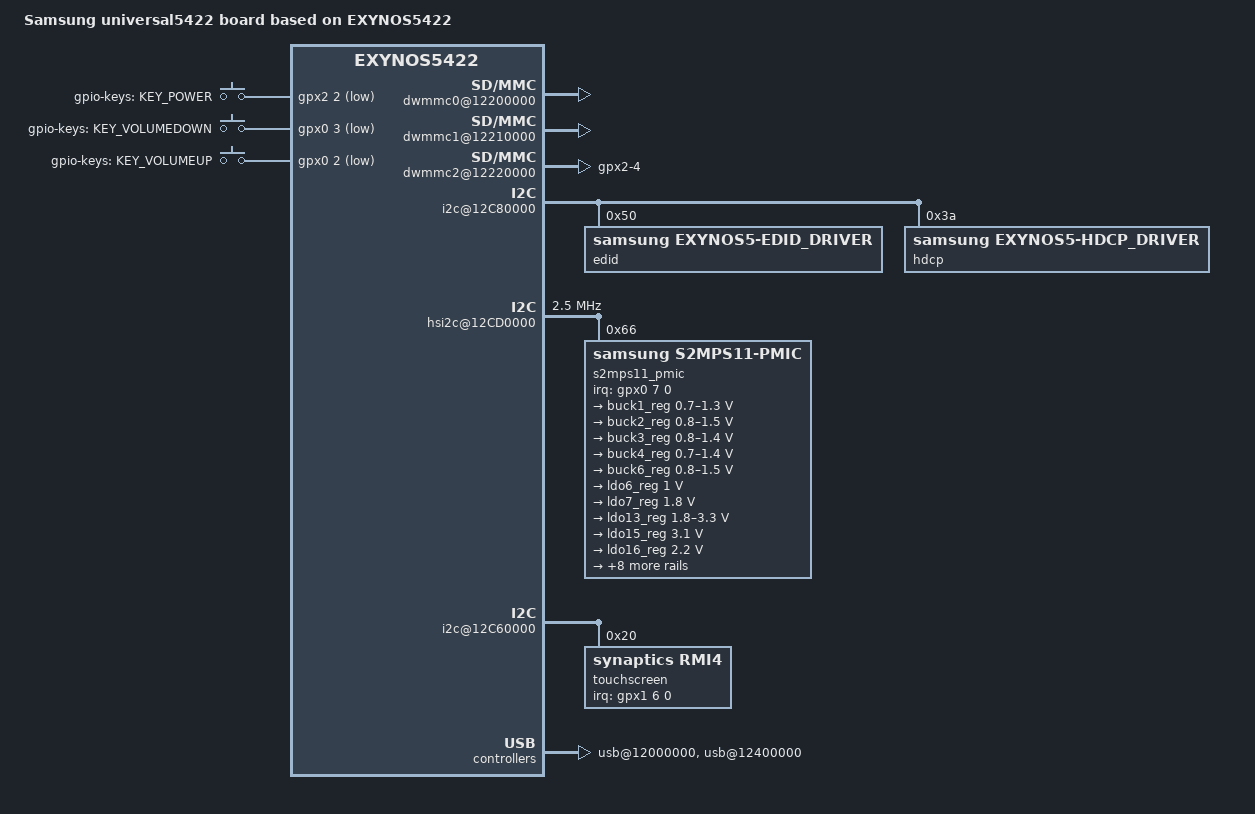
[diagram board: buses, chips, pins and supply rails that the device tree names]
/*
 * SAMSUNG universal5422 board device tree source
 *
 * Copyright (c) 2013 Samsung Electronics Co., Ltd.
 *             http://www.samsung.com
 *
 * This program is free software; you can redistribute it and/or modify
 * it under the terms of the GNU General Public License version 2 as
 * published by the Free Software Foundation.
*/

/dts-v1/;
#include "exynos5422.dtsi"

/ {
	model = "Samsung universal5422 board based on EXYNOS5422";
	compatible = "samsung,universal5422", "samsung,exynos5422";

	chosen {
		bootargs = "console=ttySAC2,115200 vmalloc=512M ess_setup=0x26000000";
	};

	fixed-rate-clocks {
		oscclk {
			compatible = "samsung,exynos5422-oscclk";
			clock-frequency = <24000000>;
		};
	};

	rtc {
		status = "okay";
	};

	dwmmc0@12200000 {
		status = "okay";
		num-slots = <1>;
		broken-cd;
		bypass-smu;
		fixed_volt;
		only_once_tune;
		supports-highspeed;
		supports-hs200-mode;
		sw_data_timeout;
		fifo-depth = <0x40>;
		card-detect-delay = <200>;
		qos_int_level = <200000>;
		samsung,dw-mshc-ciu-div = <3>;
		samsung,dw-mshc-sdr-timing = <0 4 3>;
		samsung,dw-mshc-ddr-timing = <0 2 3>;
		samsung,dw-mshc-hs200-timing = <0 2 3>;
		samsung,dw-mshc-ddr200-timing = <0 2 1>;
		clk_pin = "gpc0-0";
		clk_addr = "13410000.pinctrl";
		clk_val = <0x3>;
		clk_str_num = <4>;
		num-ref-clks = <8>;
		ciu_clkin = <20812500 41625000 41625000 83250000 166500000 83250000 166500000 333000000>;
		pinctrl-names = "default";
		pinctrl-0 = <&sd0_clk &sd0_cmd &sd0_rdqs &sd0_bus1 &sd0_bus4 &sd0_bus8>;

		slot@0 {
			reg = <0>;
			bus-width = <8>;
		};
	};

	dwmmc1@12210000 {
		status = "okay";
		num-slots = <1>;
		fixed_volt;
		only_once_tune;
		supports-highspeed;
		sw_data_timeout;
		fifo-depth = <0x40>;
		card-detect-delay = <200>;
		qos_int_level = <200000>;
		samsung,dw-mshc-ciu-div = <3>;
		samsung,dw-mshc-sdr-timing = <2 3 3>;
		samsung,dw-mshc-ddr-timing = <1 2 3>;
		clk_pin = "gpc1-0";
		clk_addr = "13410000.pinctrl";
		clk_val = <0x3>;
		clk_str_num = <4>;
		num-ref-clks = <8>;
		ciu_clkin = <20812500 41625000 41625000 83250000 166500000 83250000 166500000 333000000>;
		pinctrl-names = "default";
		pinctrl-0 = <&sd1_clk &sd1_cmd &sd1_bus1 &sd1_bus4>;

		slot@0 {
			reg = <0>;
			bus-width = <4>;
		};
	};


	dwmmc2@12220000 {
		status = "okay";
		num-slots = <1>;
		supports-highspeed;
		sw_data_timeout;
		fifo-depth = <0x40>;
		card-detect-delay = <200>;
		qos_int_level = <200000>;
		samsung,dw-mshc-ciu-div = <3>;
		samsung,dw-mshc-sdr-timing = <2 3 3>;
		samsung,dw-mshc-ddr-timing = <1 2 3>;
		clk_pin = "gpc2-0";
		clk_addr = "13410000.pinctrl";
		clk_val = <0x3>;
		clk_str_num = <4>;
		num-ref-clks = <8>;
		ciu_clkin = <20812500 41625000 41625000 83250000 166500000 83250000 166500000 333000000>;
		pinctrl-names = "default";
		pinctrl-0 = <&sd2_clk &sd2_cmd &sd2_cd &sd2_bus1 &sd2_bus4 &dwmmc2_cd_irq>;

		gpio-controller;
		#gpio-cells = <2>;
		cd-gpio = <&gpx2 4 0xf>;

		slot@0 {
			reg = <0>;
			bus-width = <4>;
			disable-wp;
		};
	};

	pinctrl@13400000 {
		pmic_irq: pmic-irq {
			samsung,pins = "gpx0-7";
			samsung,pin-pud = <3>;
			samsung,pin-drv = <3>;
		};

		dwmmc2_cd_irq: dwmmc2-cd-irq {
			samsung,pins = "gpx2-4";
			samsung,pin-function = <0>;
			samsung,pin-pud = <3>;
			samsung,pin-drv = <3>;
		};
	};

	pinctrl@13410000 {
		pm_wrsti: pm-wrsti {
			samsung,pins = "gpy3-0";
			samsung,pin-con-pdn = <3>;
		};
	};

	i2c@12C80000 {
		status = "okay";
		/* hdmi edid dirver */
		edid@50 {
			compatible = "samsung,exynos5-edid_driver";
			reg = <0x50>;
		};

		/* hdmi hdcp dirver */
		hdcp@3A {
			compatible = "samsung,exynos5-hdcp_driver";
			reg = <0x3A>;
		};
	};

	hsi2c@12CD0000 {
		samsung,hs-mode;
		clock-frequency = <2500000>;
		status = "okay";

		s2mps11_pmic@66 {
			compatible = "samsung,s2mps11-pmic";
			reg = <0x66>;
			interrupts = <7 0 0>;
			interrupt-parent = <&gpx0>;
			pinctrl-names = "default";
			pinctrl-0 = <&pmic_irq &pm_wrsti>;
			wtsr_smpl = <1>;

			regulators {
				buck1_reg: BUCK1 {
					regulator-name = "vdd_mif";
					regulator-min-microvolt = <700000>;
					regulator-max-microvolt = <1300000>;
					regulator-always-on;
					regulator-boot-on;
					regulator-ramp-delay = <12000>;
					regulator-initial-mode = <1>;
				};

				buck2_reg: BUCK2 {
					regulator-name = "vdd_eagle";
					regulator-min-microvolt = <800000>;
					regulator-max-microvolt = <1500000>;
					regulator-always-on;
					regulator-boot-on;
					regulator-ramp-delay = <12000>;
					regulator-initial-mode = <1>;
				};

				buck3_reg: BUCK3 {
					regulator-name = "vdd_int";
					regulator-min-microvolt = <800000>;
					regulator-max-microvolt = <1400000>;
					regulator-always-on;
					regulator-boot-on;
					regulator-ramp-delay = <12000>;
					regulator-initial-mode = <1>;
				};

				buck4_reg: BUCK4 {
					regulator-name = "vdd_g3d";
					regulator-min-microvolt = <700000>;
					regulator-max-microvolt = <1400000>;
					regulator-always-on;
					regulator-boot-on;
					regulator-ramp-delay = <12000>;
					regulator-initial-mode = <1>;
				};

				buck6_reg: BUCK6 {
					regulator-name = "vdd_kfc";
					regulator-min-microvolt = <800000>;
					regulator-max-microvolt = <1500000>;
					regulator-always-on;
					regulator-boot-on;
					regulator-ramp-delay = <12000>;
					regulator-initial-mode = <1>;
				};

				ldo6_reg: LDO6 {
					regulator-name = "vdd_ldo6";
					regulator-min-microvolt = <1000000>;
					regulator-max-microvolt = <1000000>;
					regulator-always-on;
					regulator-initial-mode = <1>;
				};

				ldo7_reg: LDO7 {
					regulator-name = "vdd_ldo7";
					regulator-min-microvolt = <1800000>;
					regulator-max-microvolt = <1800000>;
					regulator-always-on;
					regulator-initial-mode = <1>;
				};

				ldo13_reg: LDO13 {
					regulator-name = "vqmmc";
					regulator-min-microvolt = <1800000>;
					regulator-max-microvolt = <3300000>;
					regulator-boot-on;
					regulator-ramp-delay = <12000>;
					regulator-initial-mode = <1>;
				};

				ldo15_reg: LDO15 {
					regulator-name = "vdd_ldo15";
					regulator-min-microvolt = <3100000>;
					regulator-max-microvolt = <3100000>;
					regulator-always-on;
					regulator-initial-mode = <1>;
				};

				ldo16_reg: LDO16 {
					regulator-name = "vdd_ldo16";
					regulator-min-microvolt = <2200000>;
					regulator-max-microvolt = <2200000>;
					regulator-always-on;
					regulator-initial-mode = <1>;
				};

				ldo17_reg: LDO17 {
					regulator-name = "tsp_avdd";
					regulator-min-microvolt = <1400000>;
					regulator-max-microvolt = <3400000>;
					regulator-always-on;
					regulator-initial-mode = <3>;
				};

				ldo19_reg: LDO19 {
					regulator-name = "vdd_ldo19";
					regulator-min-microvolt = <1800000>;
					regulator-max-microvolt = <2850000>;
					regulator-always-on;
					regulator-initial-mode = <1>;
				};

				ldo23_reg: LDO23 {
					regulator-name = "vdd_ldo23";
					regulator-min-microvolt = <800000>;
					regulator-max-microvolt = <1100000>;
					regulator-always-on;
					regulator-initial-mode = <1>;
				};

				ldo24_reg: LDO24 {
					regulator-name = "vdd_ldo24";
					regulator-min-microvolt = <2800000>;
					regulator-max-microvolt = <2800000>;
					regulator-always-on;
					regulator-initial-mode = <1>;
				};

				ldo25_reg: LDO25 {
					regulator-name = "vdd_ldo25";
					regulator-min-microvolt = <1800000>;
					regulator-max-microvolt = <1800000>;
					regulator-always-on;
					regulator-initial-mode = <1>;
				};

				ldo27_reg: LDO27 {
					regulator-name = "vdd_ldo27";
					regulator-min-microvolt = <800000>;
					regulator-max-microvolt = <1100000>;
					regulator-always-on;
					regulator-initial-mode = <1>;
				};

				ldo28_reg: LDO28 {
					regulator-name = "vdd_ldo28";
					regulator-min-microvolt = <3000000>;
					regulator-max-microvolt = <3000000>;
					regulator-always-on;
					regulator-initial-mode = <1>;
				};

				ldo32_reg: LDO32 {
					regulator-name = "tsp_io";
					regulator-min-microvolt = <1000000>;
					regulator-max-microvolt = <2100000>;
					regulator-always-on;
					regulator-initial-mode = <3>;
				};
			};
		};
	};

	gpio_keys {
		compatible = "gpio-keys";
		#address-cells = <1>;
		#size-cells = <0>;
		poll-interval = <100>;

		button@1 {
			label = "gpio-keys: KEY_POWER";
			interrupts = <2 0 0>;
			interrupt-parent = <&gpx2>;
			linux,code = <116>;
			gpios = <&gpx2 2 0xf>;
			gpio-key,wakeup = <1>;
		};
		button@2 {
			label = "gpio-keys: KEY_VOLUMEDOWN";
			interrupts = <3 0 0>;
			interrupt-parent = <&gpx0>;
			linux,code = <114>;
			gpios = <&gpx0 3 0xf>;
		};
		button@3 {
			label = "gpio-keys: KEY_VOLUMEUP";
			interrupts = <2 0 0>;
			interrupt-parent = <&gpx0>;
			linux,code = <115>;
			gpios = <&gpx0 2 0xf>;
		};
	};

	i2c@12C60000 {
		status = "okay";
		samsung,i2c-sda-delay = <100>;
		samsung,i2c-max-bus-freq = <400000>;
		#size-cells = <0>;
		status = "okay";
		touchscreen@20 {
			compatible = "synaptics,rmi4";
			reg = <0x20>;
			interrupts = <6 0 0>;
			interrupt-parent = <&gpx1>;
			sensor_max_x = <1439>;
			sensor_max_y = <2559>;
			max_touch_width = <28>;
			irq_type = <8200>;
			firmware_name = "tsp_synaptics/synaptics_b0_h.fw";
			fac_firmware_name = "tsp_synaptics/synaptics_b0_fac.fw";
			num_of_rx = <28>;
			num_of_tx = <16>;
			panel_revision = <8>;
		};
	};

	usb@12000000 {
		status = "okay";
		/* using gpio (1:use, 0:not use) */
		is_gpio = <0>;

		dwc3 {
			maximum-speed = "super-speed";
			dr_mode = "otg";
		};
	};

	usb@12400000 {
		status = "okay";
		/* using gpio (1:use, 0:not use) */
		is_gpio = <0>;

		dwc3 {
			maximum-speed = "super-speed";
			dr_mode = "otg";
		};
	};

	usb@12110000 {
		/* using gpio (1:use, 0:not use) */
		is_gpio = <0>;
	};

/*disp_driver {*/
	fimd_fb: fimd_fb {
		gpios = <&gpd1 7 0xf>;
		fimd: fimd_ctrl {
			samsung,left_margin = <130>;
			samsung,right_margin = <130>;
			samsung,upper_margin = <4>;
			samsung,lower_margin = <42>;
			samsung,hsync_len = <20>;
			samsung,vsync_len = <16>;
			samsung,xres = <1440>;
			samsung,yres = <2560>;
			samsung,virtual_x = <1440>;
			samsung,virtual_y = <2560>;
			samsung,width = <71>;
			samsung,height = <114>;
			samsung,max_bpp = <32>;
			samsung,default_bpp = <24>;

			fb_driver_data {
				fb_win_variant_0 {
					has_osd_c = <1>;
					has_osd_d = <0>;
					has_osd_alpha = <0>;
					osd_size_off = <0x08>;
					palette_size = <256>;
					VALID_BPP_1248 = <1>;
					VALID_BPP_13 = <1>;
					VALID_BPP_15 = <1>;
					VALID_BPP_16 = <1>;
					VALID_BPP_18 = <1>;
					VALID_BPP_19 = <1>;
					VALID_BPP_24 = <1>;
					VALID_BPP_25 = <1>;
					VALID_BPP_32 = <1>;
				};
				fb_win_variant_1 {
					has_osd_c = <1>;
					has_osd_d = <1>;
					has_osd_alpha = <1>;
					osd_size_off = <0x0c>;
					palette_size = <256>;
					VALID_BPP_1248 = <1>;
					VALID_BPP_13 = <1>;
					VALID_BPP_15 = <1>;
					VALID_BPP_16 = <1>;
					VALID_BPP_18 = <1>;
					VALID_BPP_19 = <1>;
					VALID_BPP_24 = <1>;
					VALID_BPP_25 = <1>;
					VALID_BPP_32 = <1>;
				};
				fb_win_variant_2 {
					has_osd_c = <1>;
					has_osd_d = <1>;
					has_osd_alpha = <1>;
					osd_size_off = <0x0c>;
					palette_size = <256>;
					VALID_BPP_1248 = <1>;
					VALID_BPP_13 = <1>;
					VALID_BPP_15 = <1>;
					VALID_BPP_16 = <1>;
					VALID_BPP_18 = <1>;
					VALID_BPP_19 = <1>;
					VALID_BPP_24 = <1>;
					VALID_BPP_25 = <1>;
					VALID_BPP_32 = <1>;
				};
				fb_win_variant_3 {
					has_osd_c = <1>;
					has_osd_d = <0>;
					has_osd_alpha = <1>;
					osd_size_off = <0x0>;
					palette_size = <256>;
					VALID_BPP_1248 = <1>;
					VALID_BPP_13 = <1>;
					VALID_BPP_15 = <1>;
					VALID_BPP_16 = <1>;
					VALID_BPP_18 = <1>;
					VALID_BPP_19 = <1>;
					VALID_BPP_24 = <1>;
					VALID_BPP_25 = <1>;
					VALID_BPP_32 = <1>;
				};
				fb_win_variant_4 {
					has_osd_c = <1>;
					has_osd_d = <0>;
					has_osd_alpha = <1>;
					osd_size_off = <0x0>;
					palette_size = <256>;
					VALID_BPP_1248 = <1>;
					VALID_BPP_13 = <1>;
					VALID_BPP_15 = <1>;
					VALID_BPP_16 = <1>;
					VALID_BPP_18 = <1>;
					VALID_BPP_19 = <1>;
					VALID_BPP_24 = <1>;
					VALID_BPP_25 = <1>;
					VALID_BPP_32 = <1>;
				};
			};
		};
		mipi_dsi: mipi_dsi {
			gpios = <&gpy7 4 0x1>, <&gpy3 2 0x1>, <&gpb0 0 0x1>;

			interrupt-parent = <&gic>;
			interrupts = <0 82 0>;
			/* Interface definition: 0 - DSIM_COMMAND,
						 1 - DSIM_VIDEO */
			e_interface = <0>;

			/* Pixel format : 0 - DSIM_CMD_3BPP,
					  1 - DSIM_CMD_8BPP,
					  2 - DSIM_CMD_12BPP,
					  3 - DSIM_CMD_16BPP,
					  4 - DSIM_VID_16BPP_565,
					  5 - DSIM_VID_18BPP_666PACKED,
					  6 - DSIM_18BPP_666LOOSELYPACKED,
					  7 - DSIM_24BPP_888 */
			e_pixel_format = <7>;

			/* main frame fifo auto flush at VSYNC pulse */
			auto_flush = <0>;
			eot_disable = <1>;
			auto_vertical_cnt = <0>;
			hse = <0>;
			hfp = <0>;
			hbp = <0>;
			hsa = <0>;

			/* num of data lane : 0 - DSIM_DATA_LANE_1,
					      1 - DSIM_DATA_LANE_2,
					      2 - DSIM_DATA_LANE_3,
					      3 - DSIM_DATA_LANE_4 */
			e_no_data_lane = <3>;
			/* byte clock divider : 0 - DSIM_PLL_OUT_DIV8,
						1 - DSIM_EXT_CLK_DIV8,
						2 - DSIM_EXT_CLK_BYPASS */
			e_byte_clk = <0>;
			/* Burst mode : 0 - DSIM_NON_BURST_SYNC_EVENT,
					2 - DSIM_NON_BURST_SYNC_PULSE,
					1 - DSIM_BURST
					4 - DSIM_NON_VIDEO_MODE */
			e_burst_mode = <1>;
			/* PMS
			   - 1. LCD_S6E8AA0 : p - 4, m - 80, s - 2
			   - 2. LCD_S6E3FA0(COMMAND): p - 2, m - 46, s - 1
			   - 3. LCD_S6E3FA0(VIDEO): p - 4, m - 75, s - 1
			   - 4. LCD_S6E3HA0(COMMAND): p - 2, m - 46, s - 1*/
			p = <2>;
			m = <46>;
			s = <1>;
			/* D-PHY PLL stable time spec :min = 200usec ~ max 400usec */
			pll_stable_time = <500>;
			/* escape clk : 7MHz */
			esc_clk = <7000000>;
			/* stop state holding counter after bta change count 0 ~ 0xfff */
			stop_holding_cnt = <0x0fff>;
			/* bta timeout 0 ~ 0xff */
			bta_timeout = <0xff>;
			/* lp rx timeout 0 ~ 0xffff */
			rx_timeout = <0xffff>;
		};
	};

	ion {
		compatible = "samsung,exynos5430-ion";

		contig-names = "common",
			       "mfc_sh",
			       "g2d_wfd",
			       "video",
			       "mfc_input",
			       "sectbl",
			       "mfc_fw",
			       "mfc_nfw";

		contig = <0 0x6650000 0x0>,
		         <2 0x400000 0x0>,
		         <10 0x800000 0x0>,
		         <11 0x6000000 0x0>,
		         <7 0x1000000 0x0>,
		         <9 0x400000 0x0>,
		         <8 0x400000 0x0>,
		         <12 0x400000 0x0>;

		ion_noncontig_heap {
			id-type = <0 0>;
		};

		exynos_contig_heap {
			id-type = <4 6>;
		};
	};
};
